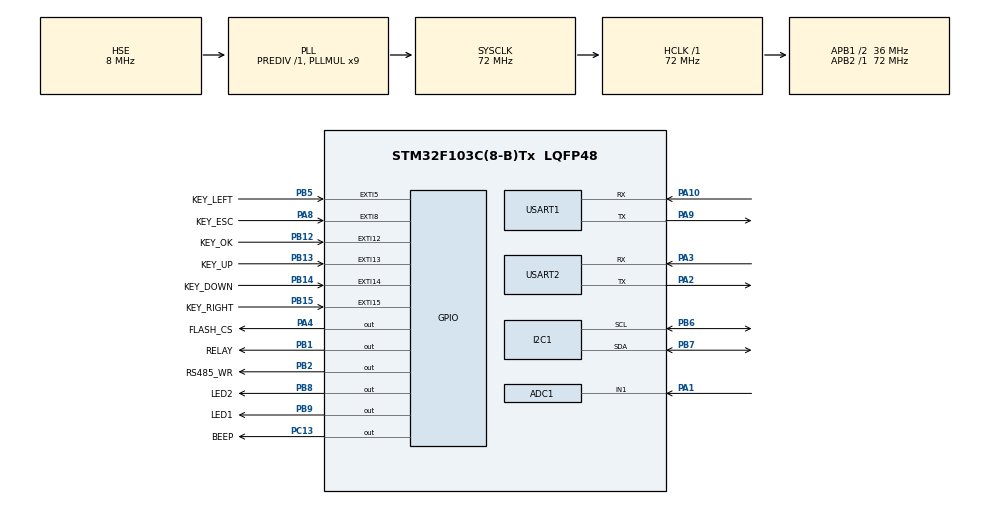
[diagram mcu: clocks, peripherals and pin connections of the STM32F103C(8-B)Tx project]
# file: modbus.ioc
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ADC1.Channel-0\#ChannelRegularConversion=ADC_CHANNEL_1
ADC1.NbrOfConversionFlag=1
ADC1.Rank-0\#ChannelRegularConversion=1
ADC1.SamplingTime-0\#ChannelRegularConversion=ADC_SAMPLETIME_239CYCLES_5
ADC1.master=1
Mcu.Family=STM32F1
Mcu.Name=STM32F103C(8-B)Tx
Mcu.Package=LQFP48
NVIC.EXTI15_10_IRQn=true\:5\:0\:true\:false\:true\:true\:true\:true
NVIC.EXTI9_5_IRQn=true\:5\:0\:true\:false\:true\:true\:true\:true
NVIC.PriorityGroup=NVIC_PRIORITYGROUP_4
NVIC.TIM1_UP_IRQn=true\:15\:0\:false\:false\:true\:false\:true\:true
NVIC.TIM3_IRQn=true\:2\:0\:true\:false\:false\:true\:true\:true
NVIC.TimeBase=TIM1_UP_IRQn
NVIC.TimeBaseIP=TIM1
NVIC.USART2_IRQn=true\:0\:0\:false\:false\:false\:true\:true\:true
PA1.Signal=ADCx_IN1
PA10.Mode=Asynchronous
PA10.Signal=USART1_RX
PA13.Mode=Serial_Wire
PA13.Signal=SYS_JTMS-SWDIO
PA14.Mode=Serial_Wire
PA14.Signal=SYS_JTCK-SWCLK
PA2.Mode=Asynchronous
PA2.Signal=USART2_TX
PA3.Mode=Asynchronous
PA3.Signal=USART2_RX
PA4.GPIO_Label=FLASH_CS
PA4.GPIO_Speed=GPIO_SPEED_FREQ_HIGH
PA4.PinState=GPIO_PIN_SET
PA4.Signal=GPIO_Output
PA8.GPIO_Label=KEY_ESC
PA8.GPIO_ModeDefaultEXTI=GPIO_MODE_IT_FALLING
PA8.GPIO_PuPd=GPIO_PULLUP
PA8.Signal=GPXTI8
PA9.Mode=Asynchronous
PA9.Signal=USART1_TX
PB1.GPIO_Label=RELAY
PB1.Signal=GPIO_Output
PB12.GPIO_Label=KEY_OK
PB12.GPIO_ModeDefaultEXTI=GPIO_MODE_IT_FALLING
PB12.GPIO_PuPd=GPIO_PULLUP
PB12.Signal=GPXTI12
PB13.GPIO_Label=KEY_UP
PB13.GPIO_ModeDefaultEXTI=GPIO_MODE_IT_FALLING
PB13.GPIO_PuPd=GPIO_PULLUP
PB13.Signal=GPXTI13
PB14.GPIO_Label=KEY_DOWN
PB14.GPIO_ModeDefaultEXTI=GPIO_MODE_IT_FALLING
PB14.GPIO_PuPd=GPIO_PULLUP
PB14.Signal=GPXTI14
PB15.GPIO_Label=KEY_RIGHT
PB15.GPIO_ModeDefaultEXTI=GPIO_MODE_IT_FALLING
PB15.GPIO_PuPd=GPIO_PULLUP
PB15.Signal=GPXTI15
PB2.GPIO_Label=RS485_WR
PB2.Signal=GPIO_Output
PB5.GPIO_Label=KEY_LEFT
PB5.GPIO_ModeDefaultEXTI=GPIO_MODE_IT_FALLING
PB5.GPIO_PuPd=GPIO_PULLUP
PB5.Signal=GPXTI5
PB6.Mode=I2C
PB6.Signal=I2C1_SCL
PB7.Mode=I2C
PB7.Signal=I2C1_SDA
PB8.GPIO_Label=LED2
PB8.PinState=GPIO_PIN_SET
PB8.Signal=GPIO_Output
PB9.GPIO_Label=LED1
PB9.PinState=GPIO_PIN_SET
PB9.Signal=GPIO_Output
PC13-TAMPER-RTC.GPIO_Label=BEEP
PC13-TAMPER-RTC.Signal=GPIO_Output
PD0-OSC_IN.Mode=HSE-External-Oscillator
PD0-OSC_IN.Signal=RCC_OSC_IN
PD1-OSC_OUT.Mode=HSE-External-Oscillator
PD1-OSC_OUT.Signal=RCC_OSC_OUT
ProjectManager.HeapSize=0x200
ProjectManager.StackSize=0x400
ProjectManager.TargetToolchain=MDK-ARM V5.32
RCC.ADCPresc=RCC_ADCPCLK2_DIV6
RCC.AHBFreq_Value=72000000
RCC.APB1CLKDivider=RCC_HCLK_DIV2
RCC.APB1Freq_Value=36000000
RCC.APB1TimFreq_Value=72000000
RCC.APB2Freq_Value=72000000
RCC.APB2TimFreq_Value=72000000
RCC.HCLKFreq_Value=72000000
RCC.PLLMUL=RCC_PLL_MUL9
RCC.PLLSourceVirtual=RCC_PLLSOURCE_HSE
RCC.RTCClockSelection=RCC_RTCCLKSOURCE_LSE
RCC.SYSCLKFreq_VALUE=72000000
RCC.SYSCLKSource=RCC_SYSCLKSOURCE_PLLCLK
RCC.USBFreq_Value=72000000
SH.ADCx_IN1.0=ADC1_IN1,IN1
TIM3.AutoReloadPreload=TIM_AUTORELOAD_PRELOAD_ENABLE
TIM3.Period=5000-1
TIM3.Prescaler=7200-1
USART1.VirtualMode=VM_ASYNC
USART2.VirtualMode=VM_ASYNC
VP_SYS_VS_tim1.Mode=TIM1
VP_TIM3_VS_ClockSourceINT.Mode=Internal
board=custom

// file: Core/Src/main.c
/* USER CODE BEGIN Header */
/**
******************************************************************************
* @file : main.c
* @brief : Main program body
******************************************************************************
* @attention
* *
Copyright (c) 2025 STMicroelectronics.
* All rights reserved.
* *
This software is licensed under terms that can be found in the LICENSE file
* in the root directory of this software component.
* If no LICENSE file comes with this software, it is provided AS-IS.
* *
*****************************************************************************
*/
/* USER CODE END Header */
#include "main.h"
#include "adc.h"
#include "i2c.h"
#include "tim.h"
#include "usart.h"
#include "gpio.h"

/* USER CODE BEGIN Includes */
#include <stdio.h>
#include "oled.h"
#include "aht20.h"
#include "ina226.h"
#include "mb.h"
#include "modbus.h"
#include "port.h"
/* USER CODE END Includes */

void SystemClock_Config(void);

int main(void)
{

  /* MCU Configuration--------------------------------------------------------*/

  /* Reset of all peripherals, Initializes the Flash interface and the Systick. */
  HAL_Init();

  /* Configure the system clock */
  SystemClock_Config();

  /* Initialize all configured peripherals */
  MX_GPIO_Init();
  MX_I2C1_Init();
  MX_ADC1_Init();
  MX_USART1_UART_Init();
  MX_USART2_UART_Init();
  MX_TIM3_Init();
  /* USER CODE BEGIN 2 */
	printf("Uart1 init is ok\n");
	printf("Modbus Test\n");
	//EEPROM_Test();
	OLED_Init();
	OLED_CLS(); // 清除屏幕显示
	OLED_ShowStr(16,0, (unsigned char*)"Modbus Control", 2);
	AHT20_Init();
	INA226_Init();
	HAL_TIM_Base_Start_IT(&htim3);

	Modbus_Init();
  /* USER CODE END 2 */

  /* Infinite loop */
	while (1)
	{

    /* USER CODE BEGIN 3 */
		eMBPoll();// 轮训查询
		Modbus_Parse();//解析各种命令
	}
  /* USER CODE END 3 */
}

void SystemClock_Config(void)
{
  RCC_OscInitTypeDef RCC_OscInitStruct = {0};
  RCC_ClkInitTypeDef RCC_ClkInitStruct = {0};
  RCC_PeriphCLKInitTypeDef PeriphClkInit = {0};

  /** Initializes the RCC Oscillators according to the specified parameters
  * in the RCC_OscInitTypeDef structure.
  */
  RCC_OscInitStruct.OscillatorType = RCC_OSCILLATORTYPE_HSE;
  RCC_OscInitStruct.HSEState = RCC_HSE_ON;
  RCC_OscInitStruct.HSEPredivValue = RCC_HSE_PREDIV_DIV1;
  RCC_OscInitStruct.HSIState = RCC_HSI_ON;
  RCC_OscInitStruct.PLL.PLLState = RCC_PLL_ON;
  RCC_OscInitStruct.PLL.PLLSource = RCC_PLLSOURCE_HSE;
  RCC_OscInitStruct.PLL.PLLMUL = RCC_PLL_MUL9;
  if (HAL_RCC_OscConfig(&RCC_OscInitStruct) != HAL_OK)
  {
    Error_Handler();
  }

  /** Initializes the CPU, AHB and APB buses clocks
  */
  RCC_ClkInitStruct.ClockType = RCC_CLOCKTYPE_HCLK|RCC_CLOCKTYPE_SYSCLK
                              |RCC_CLOCKTYPE_PCLK1|RCC_CLOCKTYPE_PCLK2;
  RCC_ClkInitStruct.SYSCLKSource = RCC_SYSCLKSOURCE_PLLCLK;
  RCC_ClkInitStruct.AHBCLKDivider = RCC_SYSCLK_DIV1;
  RCC_ClkInitStruct.APB1CLKDivider = RCC_HCLK_DIV2;
  RCC_ClkInitStruct.APB2CLKDivider = RCC_HCLK_DIV1;

  if (HAL_RCC_ClockConfig(&RCC_ClkInitStruct, FLASH_LATENCY_2) != HAL_OK)
  {
    Error_Handler();
  }
  PeriphClkInit.PeriphClockSelection = RCC_PERIPHCLK_ADC;
  PeriphClkInit.AdcClockSelection = RCC_ADCPCLK2_DIV6;
  if (HAL_RCCEx_PeriphCLKConfig(&PeriphClkInit) != HAL_OK)
  {
    Error_Handler();
  }
}

void HAL_TIM_PeriodElapsedCallback(TIM_HandleTypeDef *htim)
{
  if (htim->Instance == TIM1)
  {
    HAL_IncTick();
  }
  /* USER CODE BEGIN Callback 1 */
  else if(htim->Instance == TIM3)
  {
	printf("tim3\n");
	TIM3_Timerout_Flag = 1;		//500ms置位1次
  }
  /* USER CODE END Callback 1 */
}

void Error_Handler(void)
{
	__disable_irq();
	while (1)
	{
	}
}
